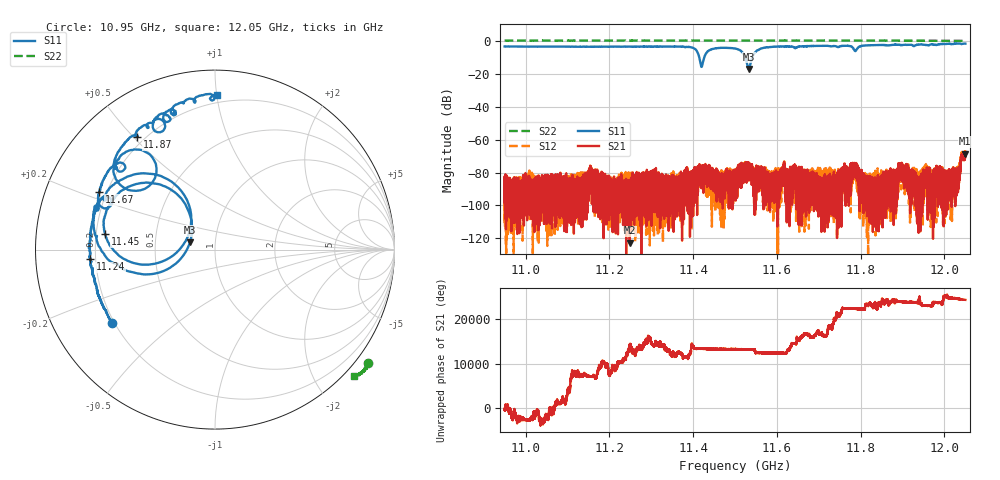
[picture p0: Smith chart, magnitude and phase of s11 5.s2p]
!Agilent Technologies,E8362C,MY49020356,A.09.42.23
!Agilent E8362C: A.09.42.23
!Date: Saturday, September 11, 2021 04:21:08
!Correction: S11(Full 2 Port(1,2))
!S21(Full 2 Port(1,2))
!S12(Full 2 Port(1,2))
!S22(Full 2 Port(1,2))
!S2P File: Measurements: S11, S21, S12, S22:
# Hz S  MA  R 50
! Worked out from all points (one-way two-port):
!   32001 points, 10.95 GHz to 12.05 GHz, reference 50 ohm
!   highest |S21| = -68.32 dB at 12.05 GHz (marker M1); lowest = -122.7 dB at 11.25 GHz (marker M2)
!   lowest |S11| = -16.8 dB at 11.53 GHz (marker M3), VSWR 1.34, Z = 37.6 + j3.16 ohm
!   |S11| at or under -10 dB: 11.41495 GHz to 11.42617 GHz (11.22 MHz wide, 0.0982 % of centre); 11.52486 GHz to 11.5407 GHz (15.84 MHz wide, 0.137 % of centre)
!   |S22| runs from 0.4 to 0.6 dB; largest |S21 - S12| = 0.00018
!   S11 on the Smith chart (normalised r, x): 10.95 GHz: 0.19, -0.31; 11.24 GHz: 0.18, -0.04; 11.45 GHz: 0.24, +0.07; 11.67 GHz: 0.17, +0.23; 11.87 GHz: 0.17, +0.51; 12.05 GHz: 0.15, +1.01
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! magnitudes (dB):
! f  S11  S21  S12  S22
! 10.95 GHz  -3.0  -92.5  -87.6  0.5
! 11.13 GHz  -3.2  -93.9  -81.5  0.5
! 11.24 GHz  -3.1  -89.2  -99.4  0.6
! 11.25 GHz  -3.1  -122.7  -86.1  0.6
! 11.32 GHz  -3.1  -88.1  -91.7  0.6
! 11.4 GHz  -3.8  -96.5  -86.0  0.6
! 11.42 GHz  -15.4  -81.8  -83.4  0.6
! 11.43 GHz  -6.1  -77.1  -85.8  0.6
! 11.45 GHz  -4.2  -87.0  -89.7  0.6
! 11.5 GHz  -4.3  -78.5  -82.0  0.6
! 11.52 GHz  -6.6  -81.2  -82.2  0.6
! 11.53 GHz  -16.8  -76.6  -74.2  0.6
! 11.55 GHz  -6.8  -86.3  -81.8  0.6
! 11.56 GHz  -4.2  -76.8  -81.1  0.6
! 11.67 GHz  -2.8  -80.0  -86.5  0.6
! 11.68 GHz  -2.7  -87.2  -84.4  0.6
! 11.79 GHz  -5.5  -75.5  -78.0  0.5
! 11.87 GHz  -2.4  -81.1  -86.1  0.5
! 11.87 GHz  -2.4  -87.5  -85.2  0.5
! 12.03 GHz  -1.3  -82.9  -79.2  0.4
! 12.05 GHz  -1.3  -68.3  -67.0  0.4
! 12.05 GHz  -1.3  -69.2  -67.3  0.4
